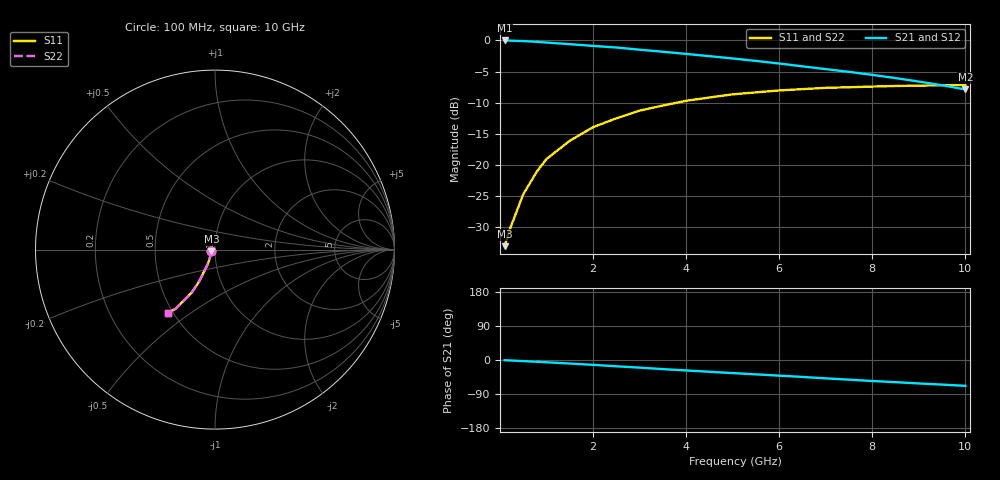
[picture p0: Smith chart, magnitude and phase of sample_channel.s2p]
! 2-Port S-Parameter Data
! Typical PCB trace channel, FR4, 50mm trace
! Generated for testing purposes
! Frequency in GHz, S-parameters in Real-Imaginary format
# GHz S RI R 50
! freq  S11_re  S11_im  S21_re  S21_im  S12_re  S12_im  S22_re  S22_im
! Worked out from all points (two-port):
!   23 points, 100 MHz to 10 GHz, reference 50 ohm
!   highest |S21| = -0.02 dB at 100 MHz (marker M1); lowest = -7.9 dB at 10 GHz (marker M2)
!   |S21| within 3 dB of the highest: start of sweep to 5.141 GHz
!   lowest |S11| = -33.0 dB at 100 MHz (marker M3), VSWR 1.05, Z = 48 - j0.961 ohm
!   |S11| at or under -10 dB: start of sweep to 3.798 GHz
!   |S22| runs from -33.0 to -7.2 dB; largest |S21 - S12| = 0
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0.1  -0.02 -0.01  0.998 -0.01  0.998 -0.01  -0.02 -0.01
0.2  -0.022 -0.02  0.995 -0.02  0.995 -0.02  -0.022 -0.02
0.5  -0.03 -0.05  0.985 -0.05  0.985 -0.05  -0.03 -0.05
0.8  -0.04 -0.08  0.97 -0.08  0.97 -0.08  -0.04 -0.08
1  -0.05 -0.1  0.955 -0.1  0.955 -0.1  -0.05 -0.1
1.5  -0.07 -0.14  0.92 -0.15  0.92 -0.15  -0.07 -0.14
2  -0.09 -0.18  0.88 -0.2  0.88 -0.2  -0.09 -0.18
2.5  -0.11 -0.21  0.84 -0.25  0.84 -0.25  -0.11 -0.21
3  -0.13 -0.24  0.79 -0.29  0.79 -0.29  -0.13 -0.24
3.5  -0.15 -0.26  0.74 -0.33  0.74 -0.33  -0.15 -0.26
4  -0.17 -0.28  0.69 -0.36  0.69 -0.36  -0.17 -0.28
4.5  -0.185 -0.295  0.64 -0.385  0.64 -0.385  -0.185 -0.295
5  -0.2 -0.31  0.59 -0.405  0.59 -0.405  -0.2 -0.31
5.5  -0.21 -0.32  0.54 -0.42  0.54 -0.42  -0.21 -0.32
6  -0.22 -0.33  0.49 -0.43  0.49 -0.43  -0.22 -0.33
7  -0.24 -0.34  0.39 -0.44  0.39 -0.44  -0.24 -0.34
7.5  -0.245 -0.342  0.345 -0.44  0.345 -0.44  -0.245 -0.342
8  -0.25 -0.345  0.3 -0.435  0.3 -0.435  -0.25 -0.345
8.5  -0.255 -0.347  0.26 -0.425  0.26 -0.425  -0.255 -0.347
9  -0.258 -0.348  0.22 -0.412  0.22 -0.412  -0.258 -0.348
9.5  -0.26 -0.35  0.185 -0.395  0.185 -0.395  -0.26 -0.35
10  -0.262 -0.351  0.15 -0.375  0.15 -0.375  -0.262 -0.351
